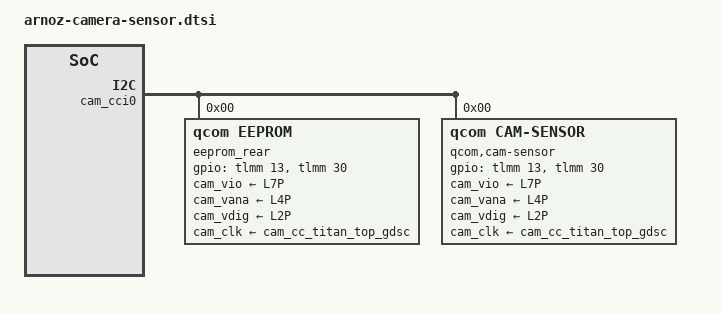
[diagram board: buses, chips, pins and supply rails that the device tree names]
/*
 * J607F (arnoz) camera sensor configuration.
 *
 * Hardware: OV13B10 13MP back camera (WIDE) on CCI0.
 * No flash LED, no actuator (fixed focus).
 * Front camera not present (CCI1 I2C timeout).
 *
 * GPIO map (from PE Lito_MTP reference):
 *   MCLK0 = gpio13,  RESET = gpio30
 *   Regulators: L7P (vio 1.8V), L4P (vana 2.8V), L2P (vdig 1.1V)
 */

#include <dt-bindings/clock/qcom,camcc-lagoon.h>

&soc {
	qcom,cam-res-mgr {
		compatible = "qcom,cam-res-mgr";
		status = "ok";
	};
};

&cam_cci0 {
	eeprom_rear: qcom,eeprom@0 {
		cell-index = <0>;
		reg = <0>;
		compatible = "qcom,eeprom";
		cam_vio-supply = <&L7P>;
		cam_vana-supply = <&L4P>;
		cam_vdig-supply = <&L2P>;
		cam_clk-supply = <&cam_cc_titan_top_gdsc>;
		regulator-names = "cam_vio", "cam_vana", "cam_vdig",
			"cam_clk";
		rgltr-cntrl-support;
		rgltr-min-voltage = <1800000 2800000 1104000 0>;
		rgltr-max-voltage = <1800000 2800000 1104000 0>;
		rgltr-load-current = <0 80000 105000 0>;
		gpio-no-mux = <0>;
		pinctrl-names = "cam_default", "cam_suspend";
		pinctrl-0 = <&cam_sensor_mclk0_active_arnoz
			     &cam_sensor_active_rear_arnoz>;
		pinctrl-1 = <&cam_sensor_mclk0_suspend_arnoz
			     &cam_sensor_suspend_rear_arnoz>;
		gpios = <&tlmm 13 0>,
			<&tlmm 30 0>;
		gpio-reset = <1>;
		gpio-req-tbl-num = <0 1>;
		gpio-req-tbl-flags = <1 0>;
		gpio-req-tbl-label = "CAMIF_MCLK0",
				    "CAM_RESET0";
		sensor-position = <0>;
		sensor-mode = <0>;
		cci-device = <0>;
		cci-master = <0>;
		status = "ok";
		clocks = <&camcc CAM_CC_MCLK0_CLK>;
		clock-names = "cam_clk";
		clock-cntl-level = "turbo";
		clock-rates = <24000000>;
	};

	qcom,cam-sensor@0 {
		cell-index = <0>;
		compatible = "qcom,cam-sensor";
		reg = <0>;
		csiphy-sd-index = <0>;
		sensor-position-roll = <90>;
		sensor-position-pitch = <0>;
		sensor-position-yaw = <180>;
		eeprom-src = <&eeprom_rear>;
		cam_vio-supply = <&L7P>;
		cam_vana-supply = <&L4P>;
		cam_vdig-supply = <&L2P>;
		cam_clk-supply = <&cam_cc_titan_top_gdsc>;
		regulator-names = "cam_vio", "cam_vana", "cam_vdig",
			"cam_clk";
		rgltr-cntrl-support;
		pwm-switch;
		rgltr-min-voltage = <1800000 2800000 1104000 0>;
		rgltr-max-voltage = <1800000 2800000 1104000 0>;
		rgltr-load-current = <0 80000 105000 0>;
		gpio-no-mux = <0>;
		pinctrl-names = "cam_default", "cam_suspend";
		pinctrl-0 = <&cam_sensor_mclk0_active_arnoz
			     &cam_sensor_active_rear_arnoz>;
		pinctrl-1 = <&cam_sensor_mclk0_suspend_arnoz
			     &cam_sensor_suspend_rear_arnoz>;
		gpios = <&tlmm 13 0>,
			<&tlmm 30 0>;
		gpio-reset = <1>;
		gpio-req-tbl-num = <0 1>;
		gpio-req-tbl-flags = <1 0>;
		gpio-req-tbl-label = "CAMIF_MCLK0",
				    "CAM_RESET0";
		sensor-mode = <0>;
		cci-device = <0>;
		cci-master = <0>;
		status = "ok";
		clocks = <&camcc CAM_CC_MCLK0_CLK>;
		clock-names = "cam_clk";
		clock-cntl-level = "turbo";
		clock-rates = <24000000>;
	};
};
